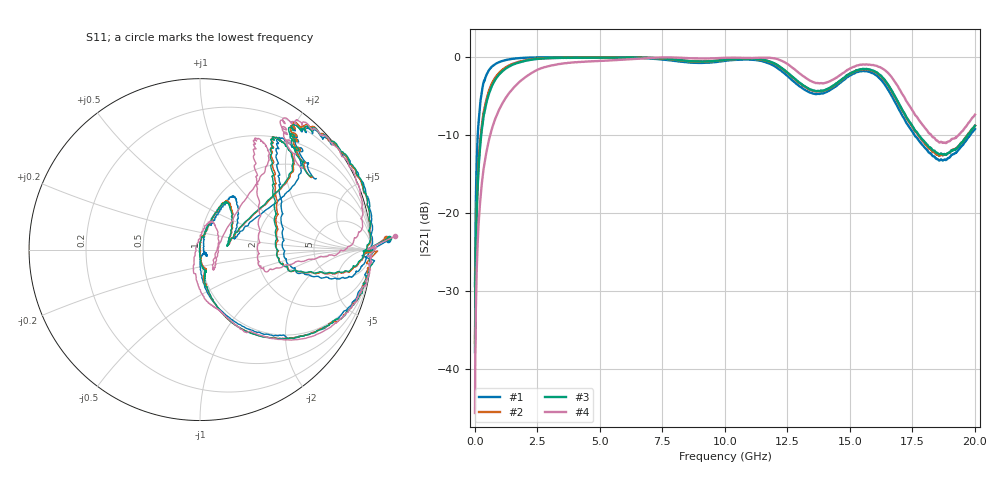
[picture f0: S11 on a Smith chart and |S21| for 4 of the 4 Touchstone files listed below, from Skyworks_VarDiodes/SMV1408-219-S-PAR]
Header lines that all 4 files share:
! Skyworks SMV1408-219 De-embedded S-Parameter Data
! Created  11-5-2013
! 2 Port Network Data
! Mounted on Board # SK41159-3 Rev 1 in Series, Cathode is connected to RF1 as Input( Pin 1) and Anode is connected RF2 as Output(Pin 2)
! Temperature = +25 °C
! RF traces and connectors are de-embedded using TRL calibration and standards
! Reference planes are package pins
! Pin 1 Input port (S-Port1), Pin 2 Output port (S-port2)
! Dev # 1
#  HZ  S  DB  R  50.00
! Rohde & Schwarz ZVA24 4Ports - Version 2.90 - 1145.1110k26 SN: 100216
! Measurements: S11 S21 S12 S22
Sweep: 10 MHz to 20 GHz
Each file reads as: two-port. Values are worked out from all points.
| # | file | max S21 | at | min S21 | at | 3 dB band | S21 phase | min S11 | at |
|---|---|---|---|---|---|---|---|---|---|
| 1 | SMV1408-219-S-PAR-Vr-0V.s2p | -0.04 dB | 2.73 GHz | -29.4 dB | 10 MHz | 390 MHz-12.7 GHz | -20 deg at 10.01 GHz | -34.4 dB | 5.63 GHz |
| 2 | SMV1408-219-S-PAR-Vr-2.5V.s2p | -0.06 dB | 6.05 GHz | -36.6 dB | 10 MHz | 750 MHz-12.87 GHz | -18 deg at 10.01 GHz | -58.3 dB | 6.35 GHz |
| 3 | SMV1408-219-S-PAR-Vr-3V.s2p | -0.06 dB | 6.05 GHz | -37.8 dB | 10 MHz | 800 MHz-12.89 GHz | -17 deg at 10.01 GHz | -52.3 dB | 6.45 GHz |
| 4 | SMV1408-219-S-PAR-Vr-30V.s2p | -0.05 dB | 7.8 GHz | -45.6 dB | 10 MHz | 1.84 GHz-13.41 GHz | -9 deg at 10.01 GHz | -32.5 dB | 7.67 GHz |
